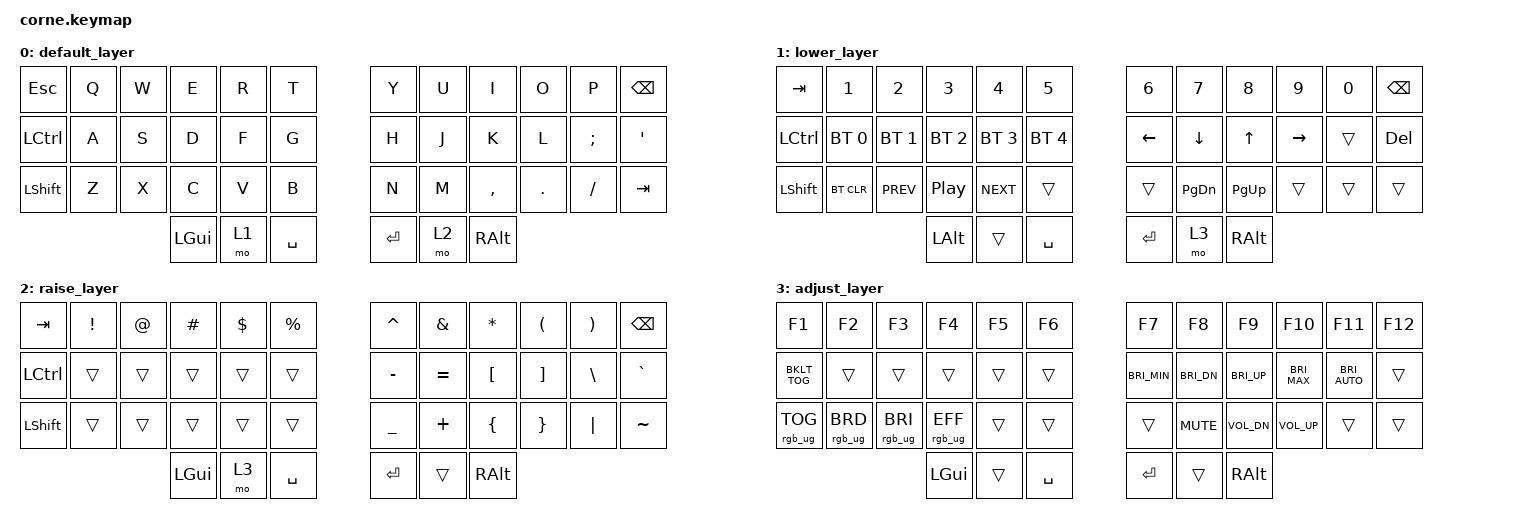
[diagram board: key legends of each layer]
/*
 * Copyright (c) 2020 The ZMK Contributors
 *
 * SPDX-License-Identifier: MIT
 */

#include <behaviors.dtsi>
#include <dt-bindings/zmk/keys.h>
#include <dt-bindings/zmk/bt.h>
#include <dt-bindings/zmk/rgb.h>

/ {
        keymap {
                compatible = "zmk,keymap";

                default_layer {
// -----------------------------------------------------------------------------------------
// |  TAB |  Q  |  W  |  E  |  R  |  T  |   |  Y  |  U   |  I  |  O  |  P  | BKSP |
// | CTRL |  A  |  S  |  D  |  F  |  G  |   |  H  |  J   |  K  |  L  |  ;  |  '   |
// | SHFT |  Z  |  X  |  C  |  V  |  B  |   |  N  |  M   |  ,  |  .  |  /  | ESC  |
//                    | GUI | LWR | SPC |   | ENT | RSE  | ALT |
                        bindings = <
   &kp ESC   &kp Q &kp W &kp E &kp R &kp T   &kp Y &kp U  &kp I     &kp O   &kp P    &kp BSPC
   &kp LCTRL &kp A &kp S &kp D &kp F &kp G   &kp H &kp J  &kp K     &kp L   &kp SEMI &kp SQT
   &kp LSHFT &kp Z &kp X &kp C &kp V &kp B   &kp N &kp M  &kp COMMA &kp DOT &kp FSLH &kp TAB
                  &kp LGUI &mo 1 &kp SPACE   &kp RET &mo 2 &kp RALT
                        >;
                };
                
                lower_layer {
// -----------------------------------------------------------------------------------------
// |  TAB |  1  |  2  |  3  |  4  |  5  |   |  6  |  7  |  8  |  9  |  0  | BKSP |
// | LCTRL| BT1 | BT2 | BT3 | BT4 | BT5 |   | LFT | DWN |  UP | RGT |     |      |
// | SHFT |BTCLR| PREV|  PP | NEXT|     |   |     |     |     |     |     |      |
//                    | GUI |     | SPC |   | ENT |     | ALT |
                        bindings = <
   &kp TAB    &kp N1       &kp N2       &kp N3       &kp N4       &kp N5         &kp N6   &kp N7   &kp N8 &kp N9    &kp N0 &kp BSPC
   &kp LCTRL &bt BT_SEL 0 &bt BT_SEL 1 &bt BT_SEL 2 &bt BT_SEL 3 &bt BT_SEL 4   &kp LEFT &kp DOWN  &kp UP &kp RIGHT &trans &kp DEL
   &kp LSHFT &bt BT_CLR   &kp C_PREV   &kp C_PP       &kp C_NEXT   &trans         &trans   &kp PG_DN &kp PG_UP &trans &trans &trans
                                       &kp LALT     &trans       &kp SPACE      &kp RET  &mo 3    &kp RALT
                        >;
                };

                raise_layer {
// -----------------------------------------------------------------------------------------
// |  TAB |  !  |  @  |  #  |  $  |  %  |   |  ^  |  &  |  *  |  (  |  )  | BKSP |
// | CTRL |     |     |     |     |     |   |  -  |  =  |  [  |  ]  |  \  |  `   |
// | SHFT |     |     |     |     |     |   |  _  |  +  |  {  |  }  | "|" |  ~   |
//                    | GUI |     | SPC |   | ENT |     | ALT |
                        bindings = <
   &kp  TAB  &kp EXCL &kp AT &kp HASH &kp DLLR &kp PRCNT   &kp CARET &kp AMPS  &kp ASTRK &kp LPAR &kp RPAR &kp BSPC
   &kp LCTRL &trans   &trans &trans   &trans   &trans      &kp MINUS &kp EQUAL &kp LBKT  &kp RBKT &kp BSLH &kp GRAVE
   &kp LSHFT &trans   &trans &trans   &trans   &trans      &kp UNDER &kp PLUS  &kp LBRC  &kp RBRC &kp PIPE &kp TILDE
                             &kp LGUI &mo 3   &kp SPACE   &kp RET   &trans    &kp RALT
                        >;
                };

                adjust_layer {
// -----------------------------------------------------------------------------------------
// |  F1  |  F2 |  F3 |  F4 |  F5 |  F6 |   |  F7 |  F8 |  F9 | F10 | F11 | F12 |
// |      |     |     |     |     |     |   |     |     |     |     |     |     |
// |      |     |     |     |     |     |   |     |     |     |     |     |     |
//                    | GUI |     | SPC |   | ENT |     | ALT |
                        bindings = <
   &kp  F1  &kp F2 &kp F3 &kp F4 &kp F5 &kp F6   &kp F7 &kp F8        &kp F9       &kp F10 &kp F11 &kp F12
   &kp C_BKLT_TOG  &trans &trans &trans &trans &trans   &kp C_BRI_MIN &kp C_BRI_DN  &kp C_BRI_UP &kp C_BRI_MAX &kp C_BRI_AUTO &trans
   &rgb_ug RGB_TOG &rgb_ug RGB_BRD &rgb_ug RGB_BRI &rgb_ug RGB_EFF &trans &trans   &trans &kp C_MUTE &kp C_VOL_DN  &kp C_VOL_UP  &trans &trans
                        &kp LGUI &trans &kp SPACE &kp RET  &trans     &kp RALT
                        >;
                };
        };
};

&led_strip {
    chain-length = <27>;
};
